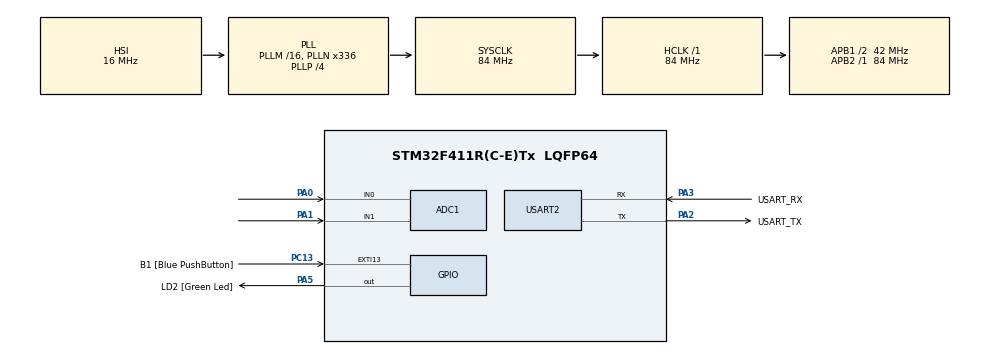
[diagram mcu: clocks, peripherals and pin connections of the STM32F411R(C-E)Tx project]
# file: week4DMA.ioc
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ADC1.Channel-0\#ChannelRegularConversion=ADC_CHANNEL_0
ADC1.Channel-1\#ChannelRegularConversion=ADC_CHANNEL_1
ADC1.Channel-2\#ChannelRegularConversion=ADC_CHANNEL_TEMPSENSOR
ADC1.Channel-3\#ChannelRegularConversion=ADC_CHANNEL_VREFINT
ADC1.ContinuousConvMode=ENABLE
ADC1.DMAContinuousRequests=ENABLE
ADC1.NbrOfConversion=4
ADC1.NbrOfConversionFlag=1
ADC1.Rank-0\#ChannelRegularConversion=1
ADC1.Rank-1\#ChannelRegularConversion=2
ADC1.Rank-2\#ChannelRegularConversion=3
ADC1.Rank-3\#ChannelRegularConversion=4
ADC1.SamplingTime-0\#ChannelRegularConversion=ADC_SAMPLETIME_480CYCLES
ADC1.SamplingTime-1\#ChannelRegularConversion=ADC_SAMPLETIME_480CYCLES
ADC1.SamplingTime-2\#ChannelRegularConversion=ADC_SAMPLETIME_480CYCLES
ADC1.SamplingTime-3\#ChannelRegularConversion=ADC_SAMPLETIME_480CYCLES
ADC1.ScanConvMode=ENABLE
ADC1.master=1
Dma.ADC1.0.Direction=DMA_PERIPH_TO_MEMORY
Dma.ADC1.0.FIFOMode=DMA_FIFOMODE_DISABLE
Dma.ADC1.0.Instance=DMA2_Stream0
Dma.ADC1.0.MemDataAlignment=DMA_MDATAALIGN_WORD
Dma.ADC1.0.MemInc=DMA_MINC_ENABLE
Dma.ADC1.0.Mode=DMA_CIRCULAR
Dma.ADC1.0.PeriphDataAlignment=DMA_PDATAALIGN_WORD
Dma.ADC1.0.PeriphInc=DMA_PINC_DISABLE
Dma.ADC1.0.Priority=DMA_PRIORITY_LOW
Dma.Request0=ADC1
Mcu.Family=STM32F4
Mcu.Name=STM32F411R(C-E)Tx
Mcu.Package=LQFP64
NVIC.DMA2_Stream0_IRQn=true\:0\:0\:false\:false\:true\:false\:true
NVIC.EXTI15_10_IRQn=true\:0\:0\:false\:false\:true\:true\:true
NVIC.PriorityGroup=NVIC_PRIORITYGROUP_0
PA0-WKUP.Signal=ADCx_IN0
PA1.Signal=ADCx_IN1
PA13.GPIO_Label=TMS
PA13.Mode=Serial_Wire
PA13.Signal=SYS_JTMS-SWDIO
PA14.GPIO_Label=TCK
PA14.Mode=Serial_Wire
PA14.Signal=SYS_JTCK-SWCLK
PA2.GPIO_Label=USART_TX
PA2.Mode=Asynchronous
PA2.Signal=USART2_TX
PA3.GPIO_Label=USART_RX
PA3.Mode=Asynchronous
PA3.Signal=USART2_RX
PA5.GPIO_Label=LD2 [Green Led]
PA5.Signal=GPIO_Output
PB3.GPIO_Label=SWO
PB3.Signal=SYS_JTDO-SWO
PC13-ANTI_TAMP.GPIO_Label=B1 [Blue PushButton]
PC13-ANTI_TAMP.GPIO_ModeDefaultEXTI=GPIO_MODE_IT_RISING_FALLING
PC13-ANTI_TAMP.GPIO_PuPd=GPIO_PULLUP
PC13-ANTI_TAMP.Signal=GPXTI13
PC14-OSC32_IN.Mode=LSE-External-Oscillator
PC14-OSC32_IN.Signal=RCC_OSC32_IN
PC15-OSC32_OUT.Mode=LSE-External-Oscillator
PC15-OSC32_OUT.Signal=RCC_OSC32_OUT
PH0\ -\ OSC_IN.Mode=HSE-External-Clock-Source
PH0\ -\ OSC_IN.Signal=RCC_OSC_IN
PH1\ -\ OSC_OUT.Mode=HSE-External-Clock-Source
PH1\ -\ OSC_OUT.Signal=RCC_OSC_OUT
ProjectManager.HeapSize=0x200
ProjectManager.StackSize=0x400
ProjectManager.TargetToolchain=STM32CubeIDE
RCC.48MHZClocksFreq_Value=84000000
RCC.AHBFreq_Value=84000000
RCC.APB1CLKDivider=RCC_HCLK_DIV2
RCC.APB1Freq_Value=42000000
RCC.APB1TimFreq_Value=84000000
RCC.APB2Freq_Value=84000000
RCC.APB2TimFreq_Value=84000000
RCC.CortexFreq_Value=84000000
RCC.FLatency-AdvancedSettings=FLASH_LATENCY_2
RCC.HCLKFreq_Value=84000000
RCC.HSE_VALUE=8000000
RCC.HSI_VALUE=16000000
RCC.PLLN=336
RCC.PLLP=RCC_PLLP_DIV4
RCC.SYSCLKFreq_VALUE=84000000
RCC.SYSCLKSource=RCC_SYSCLKSOURCE_PLLCLK
RCC.VCOOutputFreq_Value=336000000
SH.ADCx_IN0.0=ADC1_IN0,IN0
SH.ADCx_IN1.0=ADC1_IN1,IN1
USART2.VirtualMode=VM_ASYNC
VP_ADC1_TempSens_Input.Mode=IN-TempSens
VP_ADC1_Vref_Input.Mode=IN-Vrefint
board=NUCLEO-F411RE

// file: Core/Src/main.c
/* USER CODE BEGIN Header */
/**
  ******************************************************************************
  * @file           : main.c
  * @brief          : Main program body
  ******************************************************************************
  * @attention
  *
  * <h2><center>&copy; Copyright (c) 2021 STMicroelectronics.
  * All rights reserved.</center></h2>
  *
  * This software component is licensed by ST under BSD 3-Clause license,
  * the "License"; You may not use this file except in compliance with the
  * License. You may obtain a copy of the License at:
  *                        opensource.org/licenses/BSD-3-Clause
  *
  ******************************************************************************
  */
/* USER CODE END Header */
#include "main.h"

ADC_HandleTypeDef hadc1;
DMA_HandleTypeDef hdma_adc1;

UART_HandleTypeDef huart2;

/* USER CODE BEGIN PV */
uint32_t n = 0;
uint32_t Time = 0;
uint32_t ADCData[4] = {0};
uint16_t press = 0 ;
uint16_t YourTime = 0;
uint32_t PassTime = 0;
uint16_t Timestamp = 0;
float LEDRandomTime = 0;
/* USER CODE END PV */

void SystemClock_Config(void);
static void MX_GPIO_Init(void);
static void MX_DMA_Init(void);
static void MX_USART2_UART_Init(void);
static void MX_ADC1_Init(void);

int main(void)
{

  /* MCU Configuration--------------------------------------------------------*/

  /* Reset of all peripherals, Initializes the Flash interface and the Systick. */
  HAL_Init();

  /* Configure the system clock */
  SystemClock_Config();

  /* Initialize all configured peripherals */
  MX_GPIO_Init();
  MX_DMA_Init();
  MX_USART2_UART_Init();
  MX_ADC1_Init();
  /* USER CODE BEGIN 2 */
HAL_ADC_Start_DMA(&hadc1, ADCData, 4);

  /* USER CODE END 2 */

  /* Infinite loop */
  while (1)
  {

    /* USER CODE BEGIN 3 */
	  Time = HAL_GetTick();
	  if (press == 1 )
	  {
		  if (HAL_GetTick() - Timestamp >= LEDRandomTime)
		  {
			  Timestamp = HAL_GetTick();
			  HAL_GPIO_TogglePin(LD2_GPIO_Port, LD2_Pin);
			  n = 1;
			  press = 0;
		  }
	  }
  }
  /* USER CODE END 3 */
}

void SystemClock_Config(void)
{
  RCC_OscInitTypeDef RCC_OscInitStruct = {0};
  RCC_ClkInitTypeDef RCC_ClkInitStruct = {0};

  /** Configure the main internal regulator output voltage
  */
  __HAL_RCC_PWR_CLK_ENABLE();
  __HAL_PWR_VOLTAGESCALING_CONFIG(PWR_REGULATOR_VOLTAGE_SCALE1);
  /** Initializes the RCC Oscillators according to the specified parameters
  * in the RCC_OscInitTypeDef structure.
  */
  RCC_OscInitStruct.OscillatorType = RCC_OSCILLATORTYPE_HSI;
  RCC_OscInitStruct.HSIState = RCC_HSI_ON;
  RCC_OscInitStruct.HSICalibrationValue = RCC_HSICALIBRATION_DEFAULT;
  RCC_OscInitStruct.PLL.PLLState = RCC_PLL_ON;
  RCC_OscInitStruct.PLL.PLLSource = RCC_PLLSOURCE_HSI;
  RCC_OscInitStruct.PLL.PLLM = 16;
  RCC_OscInitStruct.PLL.PLLN = 336;
  RCC_OscInitStruct.PLL.PLLP = RCC_PLLP_DIV4;
  RCC_OscInitStruct.PLL.PLLQ = 4;
  if (HAL_RCC_OscConfig(&RCC_OscInitStruct) != HAL_OK)
  {
    Error_Handler();
  }
  /** Initializes the CPU, AHB and APB buses clocks
  */
  RCC_ClkInitStruct.ClockType = RCC_CLOCKTYPE_HCLK|RCC_CLOCKTYPE_SYSCLK
                              |RCC_CLOCKTYPE_PCLK1|RCC_CLOCKTYPE_PCLK2;
  RCC_ClkInitStruct.SYSCLKSource = RCC_SYSCLKSOURCE_PLLCLK;
  RCC_ClkInitStruct.AHBCLKDivider = RCC_SYSCLK_DIV1;
  RCC_ClkInitStruct.APB1CLKDivider = RCC_HCLK_DIV2;
  RCC_ClkInitStruct.APB2CLKDivider = RCC_HCLK_DIV1;

  if (HAL_RCC_ClockConfig(&RCC_ClkInitStruct, FLASH_LATENCY_2) != HAL_OK)
  {
    Error_Handler();
  }
}

static void MX_ADC1_Init(void)
{

  ADC_ChannelConfTypeDef sConfig = {0};

  /** Configure the global features of the ADC (Clock, Resolution, Data Alignment and number of conversion)
  */
  hadc1.Instance = ADC1;
  hadc1.Init.ClockPrescaler = ADC_CLOCK_SYNC_PCLK_DIV4;
  hadc1.Init.Resolution = ADC_RESOLUTION_12B;
  hadc1.Init.ScanConvMode = ENABLE;
  hadc1.Init.ContinuousConvMode = ENABLE;
  hadc1.Init.DiscontinuousConvMode = DISABLE;
  hadc1.Init.ExternalTrigConvEdge = ADC_EXTERNALTRIGCONVEDGE_NONE;
  hadc1.Init.ExternalTrigConv = ADC_SOFTWARE_START;
  hadc1.Init.DataAlign = ADC_DATAALIGN_RIGHT;
  hadc1.Init.NbrOfConversion = 4;
  hadc1.Init.DMAContinuousRequests = ENABLE;
  hadc1.Init.EOCSelection = ADC_EOC_SINGLE_CONV;
  if (HAL_ADC_Init(&hadc1) != HAL_OK)
  {
    Error_Handler();
  }
  /** Configure for the selected ADC regular channel its corresponding rank in the sequencer and its sample time.
  */
  sConfig.Channel = ADC_CHANNEL_0;
  sConfig.Rank = 1;
  sConfig.SamplingTime = ADC_SAMPLETIME_480CYCLES;
  if (HAL_ADC_ConfigChannel(&hadc1, &sConfig) != HAL_OK)
  {
    Error_Handler();
  }
  /** Configure for the selected ADC regular channel its corresponding rank in the sequencer and its sample time.
  */
  sConfig.Channel = ADC_CHANNEL_1;
  sConfig.Rank = 2;
  if (HAL_ADC_ConfigChannel(&hadc1, &sConfig) != HAL_OK)
  {
    Error_Handler();
  }
  /** Configure for the selected ADC regular channel its corresponding rank in the sequencer and its sample time.
  */
  sConfig.Channel = ADC_CHANNEL_TEMPSENSOR;
  sConfig.Rank = 3;
  if (HAL_ADC_ConfigChannel(&hadc1, &sConfig) != HAL_OK)
  {
    Error_Handler();
  }
  /** Configure for the selected ADC regular channel its corresponding rank in the sequencer and its sample time.
  */
  sConfig.Channel = ADC_CHANNEL_VREFINT;
  sConfig.Rank = 4;
  if (HAL_ADC_ConfigChannel(&hadc1, &sConfig) != HAL_OK)
  {
    Error_Handler();
  }

}

static void MX_USART2_UART_Init(void)
{

  huart2.Instance = USART2;
  huart2.Init.BaudRate = 115200;
  huart2.Init.WordLength = UART_WORDLENGTH_8B;
  huart2.Init.StopBits = UART_STOPBITS_1;
  huart2.Init.Parity = UART_PARITY_NONE;
  huart2.Init.Mode = UART_MODE_TX_RX;
  huart2.Init.HwFlowCtl = UART_HWCONTROL_NONE;
  huart2.Init.OverSampling = UART_OVERSAMPLING_16;
  if (HAL_UART_Init(&huart2) != HAL_OK)
  {
    Error_Handler();
  }

}

static void MX_DMA_Init(void)
{

  /* DMA controller clock enable */
  __HAL_RCC_DMA2_CLK_ENABLE();

  /* DMA interrupt init */
  /* DMA2_Stream0_IRQn interrupt configuration */
  HAL_NVIC_SetPriority(DMA2_Stream0_IRQn, 0, 0);
  HAL_NVIC_EnableIRQ(DMA2_Stream0_IRQn);

}

static void MX_GPIO_Init(void)
{
  GPIO_InitTypeDef GPIO_InitStruct = {0};

  /* GPIO Ports Clock Enable */
  __HAL_RCC_GPIOC_CLK_ENABLE();
  __HAL_RCC_GPIOH_CLK_ENABLE();
  __HAL_RCC_GPIOA_CLK_ENABLE();
  __HAL_RCC_GPIOB_CLK_ENABLE();

  /*Configure GPIO pin Output Level */
  HAL_GPIO_WritePin(LD2_GPIO_Port, LD2_Pin, GPIO_PIN_SET);

  /*Configure GPIO pin : B1_Pin */
  GPIO_InitStruct.Pin = B1_Pin;
  GPIO_InitStruct.Mode = GPIO_MODE_IT_RISING_FALLING;
  GPIO_InitStruct.Pull = GPIO_PULLUP;
  HAL_GPIO_Init(B1_GPIO_Port, &GPIO_InitStruct);

  /*Configure GPIO pin : LD2_Pin */
  GPIO_InitStruct.Pin = LD2_Pin;
  GPIO_InitStruct.Mode = GPIO_MODE_OUTPUT_PP;
  GPIO_InitStruct.Pull = GPIO_NOPULL;
  GPIO_InitStruct.Speed = GPIO_SPEED_FREQ_LOW;
  HAL_GPIO_Init(LD2_GPIO_Port, &GPIO_InitStruct);

  /* EXTI interrupt init*/
  HAL_NVIC_SetPriority(EXTI15_10_IRQn, 0, 0);
  HAL_NVIC_EnableIRQ(EXTI15_10_IRQn);

}

/* USER CODE BEGIN 4 */
void HAL_GPIO_EXTI_Callback(uint16_t GPIO_Pin)
{
	if(GPIO_Pin == GPIO_PIN_13)
	{
		if(n == 0)
		{
			HAL_GPIO_TogglePin(LD2_GPIO_Port, LD2_Pin);
			LEDRandomTime = 1000 + ((22695477 * ADCData[0]) + ADCData[1]) % 1000;
			press = 1;
		}
		if (n == 1)
		{
			YourTime = Time - Timestamp;
			n = 0;
		}

	}
//	if(GPIO_Pin == GPIO_PIN_13 && press == 1)
//		{
//		PassTime = Time - Timestamp;
//		}
//	if(GPIO_Pin == GPIO_PIN_13 && press == 1)
//	{
//		press = 0;
//	}
}

/* USER CODE END 4 */

void Error_Handler(void)
{
  __disable_irq();
  while (1)
  {
  }
}

/************************ (C) COPYRIGHT STMicroelectronics *****END OF FILE****/
